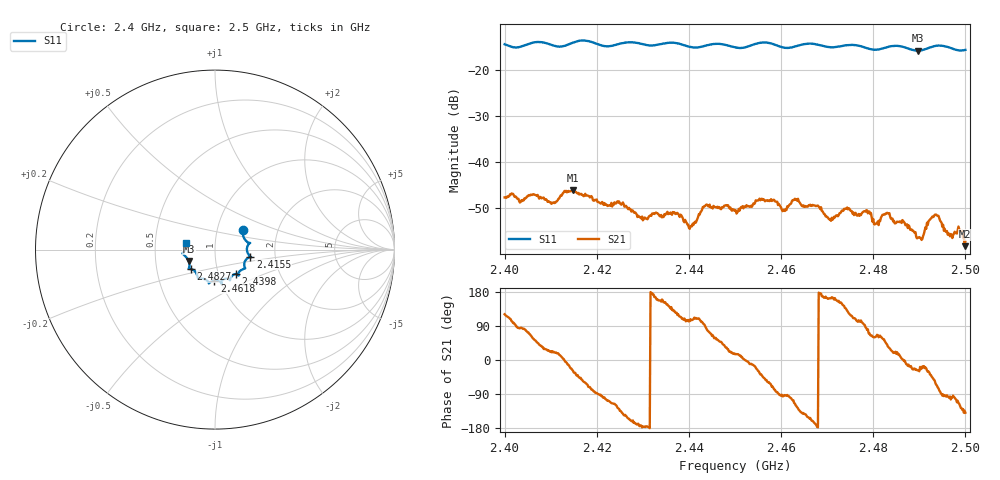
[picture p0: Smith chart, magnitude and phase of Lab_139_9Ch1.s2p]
# Hz S RI R 50
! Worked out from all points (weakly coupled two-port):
!   601 points, 2.4 GHz to 2.5 GHz, reference 50 ohm
!   highest |S21| = -46.10 dB at 2.4148 GHz (marker M1); lowest = -58.2 dB at 2.4998 GHz (marker M2)
!   lowest |S11| = -15.9 dB at 2.4897 GHz (marker M3), VSWR 1.38, Z = 36.9 - j4.84 ohm
!   |S11| at or under -10 dB: start of sweep to end of sweep
!   S12 and S22 are empty: the file has one direction only
!   S11 on the Smith chart (normalised r, x): 2.4 GHz: 1.33, +0.29; 2.4155 GHz: 1.49, -0.12; 2.4398 GHz: 1.21, -0.34; 2.4618 GHz: 0.94, -0.33; 2.4827 GHz: 0.75, -0.17; 2.5 GHz: 0.72, +0.06
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2.4e9  0.1554 0.1067  -0.00212 0.00357  0 0  0 0
2.4105e9  0.1819 0.0211  0.00339 0.00124  0 0  0 0
2.414833e9  0.1929 -0.0354  0.00436 -0.00236  0 0  0 0
2.4155e9  0.1976 -0.0395  0.0037 -0.00298  0 0  0 0
2.416667e9  0.2024 -0.0429  0.00285 -0.00352  0 0  0 0
2.433333e9  0.1301 -0.1344  -0.00253 0.00105  0 0  0 0
2.439833e9  0.1152 -0.1362  -0.000566 0.00202  0 0  0 0
2.4435e9  0.0863 -0.1595  1.63e-05 0.00334  0 0  0 0
2.45e9  0.0643 -0.1621  0.00287 0.000786  0 0  0 0
2.455667e9  0.0374 -0.1924  0.00313 -0.00243  0 0  0 0
2.461833e9  -0.00304 -0.1726  -0.000464 -0.00343  0 0  0 0
2.466667e9  -0.0346 -0.188  -0.00317 -0.00113  0 0  0 0
2.470833e9  -0.0566 -0.1653  -0.00221 0.000691  0 0  0 0
2.474167e9  -0.0897 -0.1606  -0.00217 0.00227  0 0  0 0
2.480667e9  -0.1155 -0.1167  0.00101 0.00191  0 0  0 0
2.482667e9  -0.135 -0.1085  0.00191 0.002  0 0  0 0
2.483333e9  -0.14 -0.1081  0.00233 0.00154  0 0  0 0
2.489667e9  -0.147 -0.0638  0.00134 -0.0007  0 0  0 0
2.493667e9  -0.1798 -0.0237  0.00113 -0.00245  0 0  0 0
2.496167e9  -0.1755 -0.0142  -0.000183 -0.00163  0 0  0 0
2.499833e9  -0.1592 0.0361  -0.000852 -0.000887  0 0  0 0
2.5e9  -0.1593 0.039  -0.00105 -0.000909  0 0  0 0
